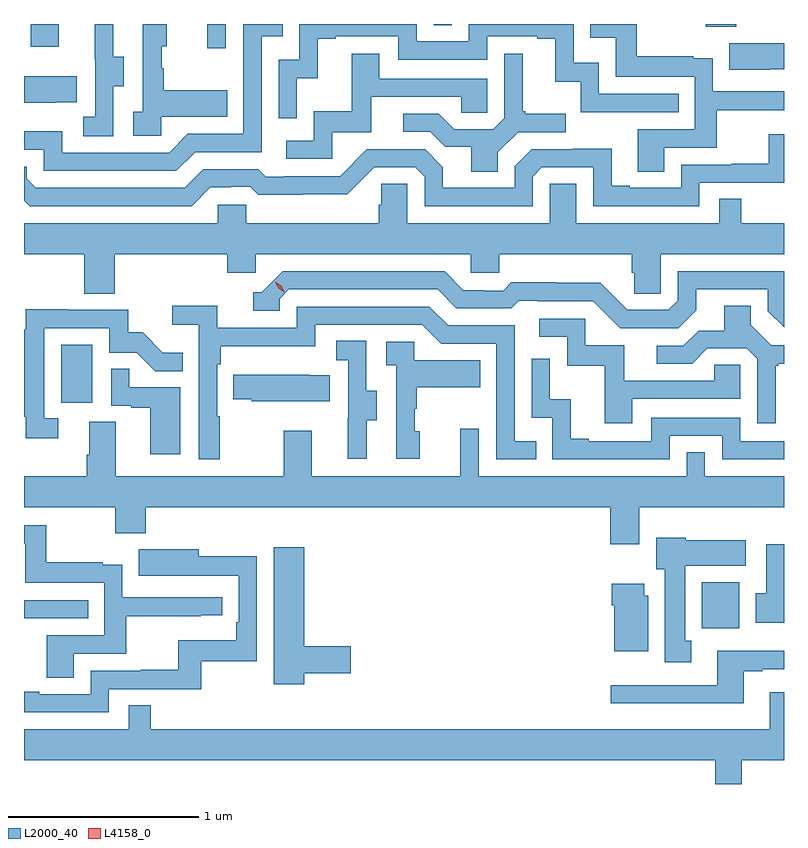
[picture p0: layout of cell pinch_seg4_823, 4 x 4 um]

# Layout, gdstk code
import gdstk
lib = gdstk.Library(unit=1e-6, precision=1e-09)
def R(c, l, rs):  # rectangles x0, y0, x1, y1
    for r in rs: c.add(gdstk.rectangle(r[:2], r[2:], *l))
def P(c, l, *ps):  # polygons
    for p in ps: c.add(gdstk.Polygon(p, *l))
L2000_40 = (2000, 40)
L4158_0 = (4158, 0)

pinch_seg4_823 = lib.new_cell('pinch_seg4_823')
R(pinch_seg4_823, L2000_40, [(828.254,789.524,828.451,789.766), (824.686,789.576,825.023,789.672), (824.882,790.71,825.046,791.017), (825.65,792.576,825.747,792.704), (824.722,792.585,824.869,792.704), (828.274,792.689,828.434,792.704), (826.842,792.697,826.938,792.704)])
P(pinch_seg4_823, L2000_40, [(826.122,792.419),(826.232,792.419),(826.232,792.627),(826.327,792.627),(826.327,792.639),(826.656,792.639),(826.656,792.516),(827.124,792.516),(827.124,792.639),(827.387,792.639),(827.387,792.627),(827.483,792.627),(827.483,792.401),(827.616,792.401),(827.616,792.24),(828.131,792.24),(828.131,792.336),(827.712,792.336),(827.712,792.499),(827.58,792.499),(827.58,792.704),(827.028,792.704),(827.028,792.612),(826.752,792.612),(826.752,792.704),(826.134,792.704),(826.134,792.516),(826.026,792.516),(826.026,792.207),(826.122,792.207)],
  [(825.586,792.03),(825.936,792.03),(825.936,792.639),(826.049,792.639),(826.049,792.704),(825.84,792.704),(825.84,792.126),(825.549,792.126),(825.45,792.027),(824.886,792.027),(824.886,792.139),(824.686,792.139),(824.686,792.042),(824.79,792.042),(824.79,791.931),(825.487,791.931)],
  [(825.408,792.215),(825.755,792.215),(825.755,792.355),(825.421,792.355),(825.421,792.47),(825.411,792.47),(825.411,792.588),(825.436,792.588),(825.436,792.704),(825.312,792.704),(825.312,792.242),(825.261,792.242),(825.261,792.117),(825.408,792.117)],
  [(828.055,792.054),(828.332,792.054),(828.332,792.25),(828.686,792.25),(828.686,792.351),(828.312,792.351),(828.312,792.523),(828.209,792.523),(828.209,792.535),(827.911,792.535),(827.911,792.704),(827.665,792.704),(827.665,792.632),(827.8,792.632),(827.8,792.426),(828.216,792.426),(828.216,792.15),(827.915,792.15),(827.915,791.926),(828.055,791.926)],
  [(825.156,792.376),(825.211,792.376),(825.211,792.531),(825.157,792.531),(825.157,792.704),(825.059,792.704),(825.059,792.519),(825.06,792.519),(825.06,792.215),(824.997,792.215),(824.997,792.112),(825.156,792.112)],
  [(828.611,792.465),(828.686,792.465),(828.686,792.604),(828.397,792.604),(828.397,792.464),(828.611,792.464)],
  [(827.179,792.028),(827.286,792.135),(827.536,792.135),(827.536,792.232),(827.323,792.232),(827.323,792.244),(827.311,792.244),(827.311,792.547),(827.214,792.547),(827.214,792.207),(827.157,792.15),(826.951,792.15),(826.87,792.231),(826.683,792.231),(826.683,792.138),(826.824,792.138),(826.904,792.058),(827.039,792.058),(827.039,791.926),(827.179,791.926)],
  [(826.308,792.135),(826.513,792.135),(826.513,792.321),(826.987,792.321),(826.987,792.237),(827.124,792.237),(827.124,792.417),(826.555,792.417),(826.555,792.547),(826.411,792.547),(826.411,792.244),(826.212,792.244),(826.212,792.09),(826.065,792.09),(826.065,791.994),(826.308,791.994)],
  [(824.855,792.293),(824.963,792.293),(824.963,792.43),(824.686,792.43),(824.686,792.29),(824.855,792.29)],
  [(825.667,791.844),(825.774,791.844),(825.774,791.847),(825.877,791.847),(825.919,791.805),(826.152,791.805),(826.152,791.807),(826.388,791.807),(826.53,791.949),(826.746,791.949),(826.794,791.901),(826.794,791.745),(827.364,791.745),(827.364,791.901),(827.412,791.949),(827.682,791.949),(827.682,791.745),(828.24,791.745),(828.24,791.868),(828.686,791.868),(828.686,792.124),(828.606,792.124),(828.606,791.969),(828.409,791.969),(828.409,791.964),(828.144,791.964),(828.144,791.841),(827.875,791.841),(827.875,791.854),(827.779,791.854),(827.779,792.047),(827.574,792.047),(827.574,792.045),(827.358,792.045),(827.268,791.955),(827.268,791.841),(826.891,791.841),(826.891,791.951),(826.797,792.045),(826.491,792.045),(826.35,791.904),(826.057,791.904),(826.057,791.901),(825.958,791.901),(825.919,791.94),(825.63,791.94),(825.531,791.841),(824.748,791.841),(824.7,791.889),(824.7,791.952),(824.686,791.952),(824.686,791.774),(824.715,791.745),(825.568,791.745)],
  [(825.164,791.492),(825.755,791.492),(825.755,791.394),(825.906,791.394),(825.906,791.492),(827.037,791.492),(827.037,791.394),(827.187,791.394),(827.187,791.492),(827.885,791.492),(827.885,791.394),(827.899,791.394),(827.899,791.284),(828.036,791.284),(828.036,791.492),(828.686,791.492),(828.686,791.656),(828.461,791.656),(828.461,791.783),(828.345,791.783),(828.345,791.656),(827.593,791.656),(827.593,791.864),(827.454,791.864),(827.454,791.656),(826.704,791.656),(826.704,791.864),(826.567,791.864),(826.567,791.754),(826.553,791.754),(826.553,791.656),(825.855,791.656),(825.855,791.754),(825.705,791.754),(825.705,791.656),(824.686,791.656),(824.686,791.492),(825.004,791.492),(825.004,791.284),(825.164,791.284)],
  [(828.223,791.197),(828.223,791.307),(828.6,791.307),(828.6,791.193),(828.686,791.107),(828.686,791.403),(828.126,791.403),(828.126,791.247),(828.078,791.199),(827.862,791.199),(827.72,791.341),(827.484,791.341),(827.484,791.344),(827.251,791.344),(827.209,791.301),(827.106,791.301),(827.106,791.304),(826.999,791.304),(826.9,791.403),(826.047,791.403),(825.936,791.292),(825.893,791.292),(825.893,791.196),(826.032,791.196),(826.032,791.259),(826.08,791.307),(826.863,791.307),(826.962,791.208),(827.251,791.208),(827.29,791.247),(827.389,791.247),(827.389,791.244),(827.682,791.244),(827.823,791.103),(828.129,791.103)],
  [(828.643,790.905),(828.655,790.905),(828.655,790.916),(828.686,790.916),(828.686,791.013),(828.618,791.013),(828.511,791.12),(828.511,791.222),(828.371,791.222),(828.371,791.09),(828.236,791.09),(828.156,791.01),(828.015,791.01),(828.015,790.917),(828.202,790.917),(828.283,790.998),(828.489,790.998),(828.546,790.941),(828.546,790.602),(828.643,790.602)],
  [(825.715,790.64),(825.702,790.64),(825.702,790.913),(825.722,790.913),(825.722,791.009),(826.218,791.009),(826.218,791.121),(826.782,791.121),(826.881,791.022),(827.172,791.022),(827.172,790.413),(827.381,790.413),(827.381,790.509),(827.268,790.509),(827.268,791.118),(826.918,791.118),(826.819,791.217),(826.122,791.217),(826.122,791.106),(825.704,791.106),(825.704,791.222),(825.465,791.222),(825.465,791.12),(825.606,791.12),(825.606,790.413),(825.715,790.413)],
  [(824.866,790.629),(824.793,790.629),(824.793,791.103),(825.135,791.103),(825.135,790.974),(825.279,790.974),(825.377,790.876),(825.521,790.876),(825.521,790.975),(825.417,790.975),(825.31,791.082),(825.234,791.082),(825.234,791.199),(824.915,791.199),(824.915,791.204),(824.696,791.204),(824.696,791.096),(824.686,791.096),(824.686,790.636),(824.696,790.636),(824.696,790.524),(824.866,790.524)],
  [(827.887,790.731),(828.456,790.731),(828.456,790.911),(828.319,790.911),(828.319,790.827),(827.845,790.827),(827.845,791.013),(827.64,791.013),(827.64,791.154),(827.397,791.154),(827.397,791.058),(827.544,791.058),(827.544,790.905),(827.743,790.905),(827.743,790.602),(827.887,790.602)],
  [(826.489,790.618),(826.543,790.618),(826.543,790.773),(826.488,790.773),(826.488,791.036),(826.329,791.036),(826.329,790.933),(826.392,790.933),(826.392,790.629),(826.391,790.629),(826.391,790.416),(826.489,790.416)],
  [(826.768,790.56),(826.743,790.56),(826.743,790.679),(826.753,790.679),(826.753,790.793),(827.087,790.793),(827.087,790.933),(826.74,790.933),(826.74,791.031),(826.593,791.031),(826.593,790.907),(826.644,790.907),(826.644,790.416),(826.768,790.416)],
  [(828.084,790.536),(828.36,790.536),(828.36,790.413),(828.686,790.413),(828.686,790.509),(828.456,790.509),(828.456,790.632),(827.988,790.632),(827.988,790.509),(827.659,790.509),(827.659,790.522),(827.564,790.522),(827.564,790.73),(827.454,790.73),(827.454,790.942),(827.358,790.942),(827.358,790.632),(827.466,790.632),(827.466,790.413),(828.084,790.413)],
  [(825.508,790.791),(825.239,790.791),(825.239,790.889),(825.144,790.889),(825.144,790.695),(825.251,790.695),(825.251,790.683),(825.35,790.683),(825.35,790.44),(825.508,790.44)],
  [(826.295,790.855),(826.187,790.855),(826.187,790.858),(825.787,790.858),(825.787,790.729),(825.885,790.729),(825.885,790.718),(826.295,790.718)],
  [(827.923,790.16),(828.686,790.16),(828.686,790.324),(828.27,790.324),(828.27,790.451),(828.174,790.451),(828.174,790.324),(827.079,790.324),(827.079,790.573),(826.982,790.573),(826.982,790.324),(826.201,790.324),(826.201,790.564),(826.054,790.564),(826.054,790.324),(825.169,790.324),(825.169,790.61),(825.029,790.61),(825.029,790.436),(825.017,790.436),(825.017,790.324),(824.686,790.324),(824.686,790.16),(825.166,790.16),(825.166,790.025),(825.326,790.025),(825.326,790.16),(827.771,790.16),(827.771,789.966),(827.923,789.966)],
  [(824.947,789.39),(825.224,789.39),(825.224,789.586),(825.617,789.586),(825.617,789.591),(825.73,789.591),(825.73,789.687),(825.204,789.687),(825.204,789.859),(825.101,789.859),(825.101,789.871),(824.803,789.871),(824.803,790.065),(824.686,790.065),(824.686,789.968),(824.692,789.968),(824.692,789.762),(825.108,789.762),(825.108,789.486),(824.807,789.486),(824.807,789.262),(824.947,789.262)],
  [(828.199,789.458),(828.166,789.458),(828.166,789.854),(828.484,789.854),(828.484,789.988),(828.168,789.988),(828.168,790),(828.014,790),(828.014,789.834),(828.059,789.834),(828.059,789.345),(828.199,789.345)],
  [(828.686,789.967),(828.593,789.967),(828.593,789.708),(828.536,789.708),(828.536,789.552),(828.686,789.552)],
  [(826.162,789.286),(826.405,789.286),(826.405,789.428),(826.162,789.428),(826.162,789.949),(826.001,789.949),(826.001,789.228),(826.162,789.228)],
  [(825.132,789.204),(825.619,789.204),(825.619,789.351),(825.912,789.351),(825.912,789.902),(825.607,789.902),(825.607,789.94),(825.289,789.94),(825.289,789.8),(825.503,789.8),(825.503,789.801),(825.816,789.801),(825.816,789.556),(825.803,789.556),(825.803,789.46),(825.498,789.46),(825.498,789.305),(825.301,789.305),(825.301,789.3),(825.036,789.3),(825.036,789.177),(824.767,789.177),(824.767,789.19),(824.686,789.19),(824.686,789.081),(825.132,789.081)],
  [(827.971,789.696),(827.95,789.696),(827.95,789.757),(827.78,789.757),(827.78,789.644),(827.792,789.644),(827.792,789.404),(827.971,789.404)],
  [(828.475,789.297),(828.571,789.297),(828.571,789.309),(828.686,789.309),(828.686,789.406),(828.335,789.406),(828.335,789.225),(827.775,789.225),(827.775,789.128),(828.475,789.128)],
  [(828.463,788.828),(828.686,788.828),(828.686,789.187),(828.611,789.187),(828.611,788.992),(825.353,788.992),(825.353,789.119),(825.237,789.119),(825.237,788.992),(824.686,788.992),(824.686,788.828),(828.323,788.828),(828.323,788.704),(828.463,788.704)])
P(pinch_seg4_823, L4158_0, [(826.057,791.293),(826.026,791.313),(826.009,791.345),(826.009,791.346),(826.01,791.346),(826.041,791.326),(826.057,791.294),(826.057,791.293)])

lib.write_gds('pinch_seg4_823.gds')
